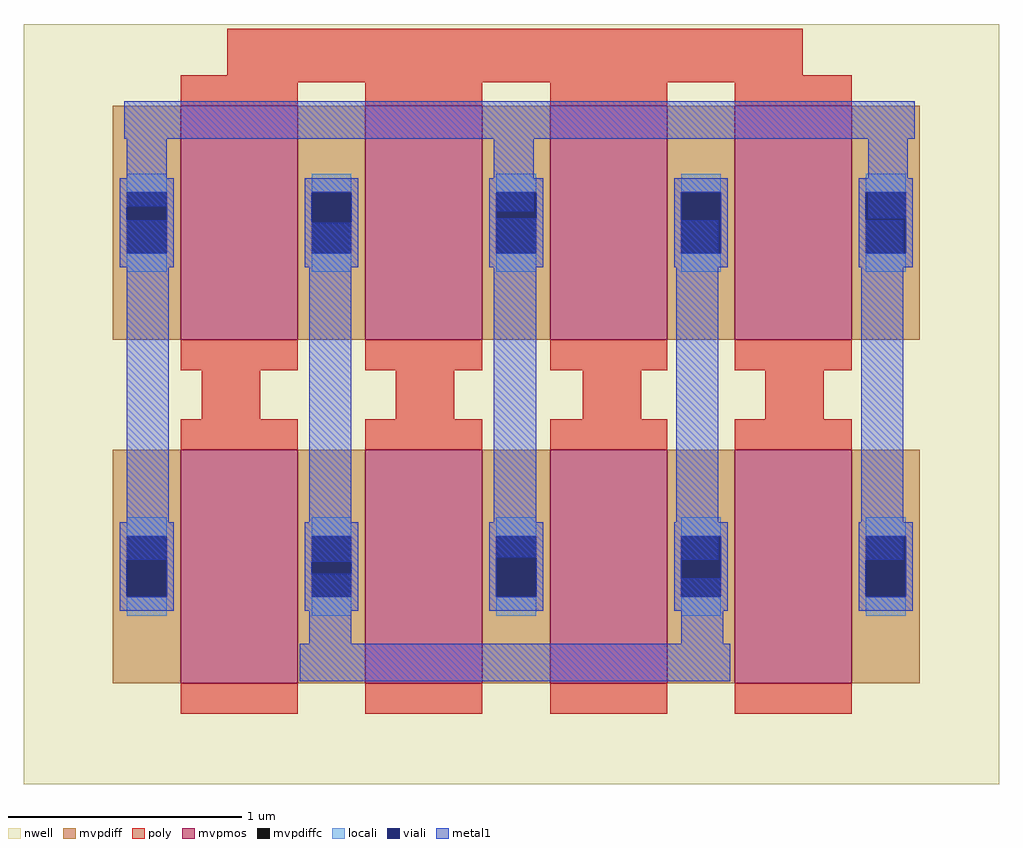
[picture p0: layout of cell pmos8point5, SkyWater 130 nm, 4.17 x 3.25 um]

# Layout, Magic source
magic
tech sky130A
magscale 1 2
<< nwell >>
rect -40 -24 794 626
<< poly >>
rect 134 576 626 622
rect 112 280 162 338
rect 278 282 328 340
rect 438 278 488 336
rect 594 276 644 334
<< metal1 >>
rect 46 528 722 560
rect 48 470 82 528
rect 362 466 396 528
rect 682 460 716 528
rect 48 168 84 458
rect 204 166 240 456
rect 362 170 398 460
rect 518 168 554 458
rect 676 168 712 458
rect 204 96 240 156
rect 522 96 558 152
rect 196 64 564 96
use sky130_fd_pr__pfet_g5v0d10v5_3AHBS2  sky130_fd_pr__pfet_g5v0d10v5_3AHBS2_0
transform 1 0 381 0 1 309
box -411 -313 411 313
<< end >>

# cell sky130_fd_pr__pfet_g5v0d10v5_3AHBS2: kit device sky130_fd_pr__pfet_g5v0d10v5, w 1 l 0.5 m 2 nf 4 diffcov 30 polycov 100 guard 0 glc 0 grc 0 gtc 0 gbc 0 tbcov 100 rlcov 100 topc 0 botc 0 poverlap 0 doverlap 1 lmin 0.50 wmin 0.42 compatible {sky130_fd_pr__pfet_01v8 sky130_fd_pr__pfet_01v8_lvt sky130_fd_pr__pfet_01v8_hvt sky130_fd_pr__pfet_g5v0d10v5} full_metal 0 viasrc 30 viadrn 30 viagate 100 viagb 0 viagr 0 viagl 0 viagt 0
